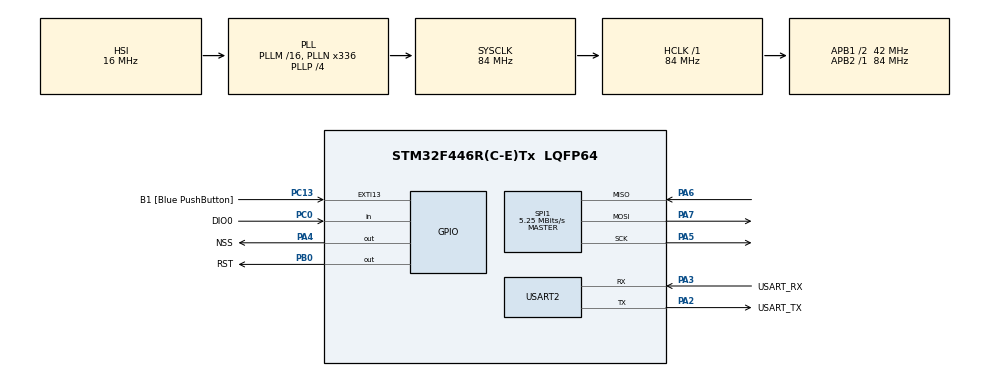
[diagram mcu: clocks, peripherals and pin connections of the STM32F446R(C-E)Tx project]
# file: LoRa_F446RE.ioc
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Mcu.Family=STM32F4
Mcu.Name=STM32F446R(C-E)Tx
Mcu.Package=LQFP64
NVIC.PriorityGroup=NVIC_PRIORITYGROUP_0
PA13.GPIO_Label=TMS
PA13.Mode=Serial_Wire
PA13.Signal=SYS_JTMS-SWDIO
PA14.GPIO_Label=TCK
PA14.Mode=Serial_Wire
PA14.Signal=SYS_JTCK-SWCLK
PA2.GPIO_Label=USART_TX
PA2.Mode=Asynchronous
PA2.Signal=USART2_TX
PA3.GPIO_Label=USART_RX
PA3.Mode=Asynchronous
PA3.Signal=USART2_RX
PA4.GPIO_Label=NSS
PA4.PinState=GPIO_PIN_SET
PA4.Signal=GPIO_Output
PA5.Mode=Full_Duplex_Master
PA5.Signal=SPI1_SCK
PA6.Mode=Full_Duplex_Master
PA6.Signal=SPI1_MISO
PA7.Mode=Full_Duplex_Master
PA7.Signal=SPI1_MOSI
PB0.GPIO_Label=RST
PB0.Signal=GPIO_Output
PB3.GPIO_Label=SWO
PB3.Signal=SYS_JTDO-SWO
PC0.GPIO_Label=DIO0
PC0.Signal=GPIO_Input
PC13.GPIO_Label=B1 [Blue PushButton]
PC13.GPIO_ModeDefaultEXTI=GPIO_MODE_IT_FALLING
PC13.Signal=GPXTI13
PC14-OSC32_IN.Mode=LSE-External-Oscillator
PC14-OSC32_IN.Signal=RCC_OSC32_IN
PC15-OSC32_OUT.Mode=LSE-External-Oscillator
PC15-OSC32_OUT.Signal=RCC_OSC32_OUT
PH0-OSC_IN.Mode=HSE-External-Oscillator
PH0-OSC_IN.Signal=RCC_OSC_IN
PH1-OSC_OUT.Mode=HSE-External-Oscillator
PH1-OSC_OUT.Signal=RCC_OSC_OUT
ProjectManager.HeapSize=0x200
ProjectManager.StackSize=0x400
ProjectManager.TargetToolchain=STM32CubeIDE
RCC.48MHZClocksFreq_Value=84000000
RCC.AHBFreq_Value=84000000
RCC.APB1CLKDivider=RCC_HCLK_DIV2
RCC.APB1Freq_Value=42000000
RCC.APB1TimFreq_Value=84000000
RCC.APB2Freq_Value=84000000
RCC.APB2TimFreq_Value=84000000
RCC.CortexFreq_Value=84000000
RCC.FLatency-AdvancedSettings=FLASH_LATENCY_2
RCC.HCLKFreq_Value=84000000
RCC.HSE_VALUE=8000000
RCC.HSI_VALUE=16000000
RCC.PLLN=336
RCC.PLLP=RCC_PLLP_DIV4
RCC.SYSCLKFreq_VALUE=84000000
RCC.SYSCLKSource=RCC_SYSCLKSOURCE_PLLCLK
RCC.USBFreq_Value=168000000
RCC.VCOOutputFreq_Value=336000000
SPI1.BaudRatePrescaler=SPI_BAUDRATEPRESCALER_16
SPI1.CalculateBaudRate=5.25 MBits/s
SPI1.Direction=SPI_DIRECTION_2LINES
SPI1.Mode=SPI_MODE_MASTER
SPI1.VirtualType=VM_MASTER
USART2.VirtualMode=VM_ASYNC
board=NUCLEO-F446RE

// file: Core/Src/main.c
/* USER CODE BEGIN Header */
/**
  ******************************************************************************
  * @file           : main.c
  * @brief          : Main program body
  ******************************************************************************
  */
/* USER CODE END Header */
#include "main.h"

/* USER CODE BEGIN Includes */
#include <stdio.h>
#include <string.h>
#include "lora.h"
/* USER CODE END Includes */

/* USER CODE BEGIN PD */
#define TX_INTERVAL_MS 5000
/* USER CODE END PD */

SPI_HandleTypeDef hspi1;
UART_HandleTypeDef huart2;

/* USER CODE BEGIN PV */
LoRa myLoRa;
uint16_t packet_seq = 0;
/* USER CODE END PV */

void SystemClock_Config(void);
static void MX_GPIO_Init(void);
static void MX_SPI1_Init(void);
static void MX_USART2_UART_Init(void);

/* USER CODE BEGIN PFP */
static uint16_t Calculate_CRC16(uint8_t *data, uint16_t len);
static void Generate_Test_Frame(StructEyeFrame *frame, uint8_t scenario_idx);

typedef struct {
    int16_t ax, ay, az;
    int16_t gx, gy, gz;
    uint8_t node_status;
    const char *label;
} TestScenario;

static const TestScenario test_cases[4] = {
    {   100,  -50, 14000,    10,   -5,    3, 0x00, "OK"                 },
    {  8000, 5000, 12000,  6000, 4000, 2000, 0x01, "OK but variation"   },
    { 16000, 1000, 14000,   200,  100,   50, 0x02, "NOT OK"             },
    { 25000, 18000, 20000, 15000, 12000, 11000, 0x03, "DANGER"          }
};
/* USER CODE END PFP */

/* USER CODE BEGIN 0 */

/* Retarget printf to UART2 */
#ifdef __GNUC__
#define PUTCHAR_PROTOTYPE int __io_putchar(int ch)
#else
#define PUTCHAR_PROTOTYPE int fputc(int ch, FILE *f)
#endif

PUTCHAR_PROTOTYPE
{
  HAL_UART_Transmit(&huart2, (uint8_t *)&ch, 1, HAL_MAX_DELAY);
  return ch;
}

static uint16_t Calculate_CRC16(uint8_t *data, uint16_t len) {
    uint16_t crc = 0xFFFF;
    for (uint16_t i = 0; i < len; i++) {
        crc ^= (uint16_t)data[i] << 8;
        for (uint8_t j = 0; j < 8; j++) {
            if (crc & 0x8000) {
                crc = (crc << 1) ^ 0x1021;
            } else {
                crc = crc << 1;
            }
        }
    }
    return crc;
}

static void Generate_Test_Frame(StructEyeFrame *frame, uint8_t scenario_idx) {
    memset(frame, 0, sizeof(StructEyeFrame));

    // Ensure index bounds
    scenario_idx = scenario_idx % 4;
    const TestScenario *s = &test_cases[scenario_idx];

    frame->preamble = 0xAA;
    frame->master_id = 0x00;
    frame->device_id = 0x01; // Node 1
    frame->seq_num = __builtin_bswap16(packet_seq++);
    frame->msg_type = 0x02;
    frame->payload_len = 0x0C; // 12 bytes

    // Assign specific Dummy Data for this scenario
    frame->accel_x = s->ax;
    frame->accel_y = s->ay;
    frame->accel_z = s->az;
    frame->gyro_x  = s->gx;
    frame->gyro_y  = s->gy;
    frame->gyro_z  = s->gz;

    // Node Status explicitly set to 0=OK, 1=Variation, 2=NOT OK, 3=DANGER
    frame->alert_flags = (s->node_status > 0) ? 0x01 : 0x00; // Set alert flag if not OK
    frame->node_status = s->node_status;

    // Calculate CRC over frame except CRC bytes
    uint16_t crc = Calculate_CRC16((uint8_t *)frame, sizeof(StructEyeFrame) - 2);
    frame->crc16 = __builtin_bswap16(crc);
}

void Error_Handler(void) {
  __disable_irq();
  while (1) {}
}
/* USER CODE END 0 */

int main(void)
{
  /* MCU Configuration--------------------------------------------------------*/
  /* Reset of all peripherals, Initializes the Flash interface and the Systick. */
  HAL_Init();

  /* Configure the system clock */
  SystemClock_Config();

  /* Initialize all configured peripherals */
  MX_GPIO_Init();
  MX_SPI1_Init();
  MX_USART2_UART_Init();

  /* USER CODE BEGIN 2 */
  printf("\r\n--- StructEye Sensor Node --- \r\n");

  myLoRa.hspi = &hspi1;
  myLoRa.NSS_port = NSS_GPIO_Port;
  myLoRa.NSS_pin = NSS_Pin;
  myLoRa.RST_port = RST_GPIO_Port;
  myLoRa.RST_pin = RST_Pin;
  myLoRa.DIO0_port = DIO0_GPIO_Port;
  myLoRa.DIO0_pin = DIO0_Pin;

  if (LoRa_Init(&myLoRa)) {
      printf("LoRa initialized successfully.\r\n");
  } else {
      printf("LoRa initialization failed.\r\n");
      while (1) {
          HAL_Delay(100);
      }
  }
  /* USER CODE END 2 */

  /* Infinite loop */
  /* USER CODE BEGIN WHILE */
  StructEyeFrame txFrame;
  uint8_t current_scenario = 0;

  while (1)
  {
      Generate_Test_Frame(&txFrame, current_scenario);

      printf("Transmitting packet %d: [STATUS: %s]\r\n", packet_seq - 1, test_cases[current_scenario].label);
      LoRa_Transmit(&myLoRa, (uint8_t *)&txFrame, sizeof(StructEyeFrame));

      current_scenario = (current_scenario + 1) % 4; // Cycle 0 -> 1 -> 2 -> 3

      HAL_Delay(TX_INTERVAL_MS);
    /* USER CODE END WHILE */

  }
}

void SystemClock_Config(void)
{
  RCC_OscInitTypeDef RCC_OscInitStruct = {0};
  RCC_ClkInitTypeDef RCC_ClkInitStruct = {0};

  __HAL_RCC_PWR_CLK_ENABLE();
  __HAL_PWR_VOLTAGESCALING_CONFIG(PWR_REGULATOR_VOLTAGE_SCALE3);

  RCC_OscInitStruct.OscillatorType = RCC_OSCILLATORTYPE_HSI;
  RCC_OscInitStruct.HSIState = RCC_HSI_ON;
  RCC_OscInitStruct.HSICalibrationValue = RCC_HSICALIBRATION_DEFAULT;
  RCC_OscInitStruct.PLL.PLLState = RCC_PLL_ON;
  RCC_OscInitStruct.PLL.PLLSource = RCC_PLLSOURCE_HSI;
  RCC_OscInitStruct.PLL.PLLM = 16;
  RCC_OscInitStruct.PLL.PLLN = 336;
  RCC_OscInitStruct.PLL.PLLP = RCC_PLLP_DIV4;
  RCC_OscInitStruct.PLL.PLLQ = 2;
  RCC_OscInitStruct.PLL.PLLR = 2;
  if (HAL_RCC_OscConfig(&RCC_OscInitStruct) != HAL_OK)
  {
    Error_Handler();
  }

  RCC_ClkInitStruct.ClockType = RCC_CLOCKTYPE_HCLK|RCC_CLOCKTYPE_SYSCLK
                              |RCC_CLOCKTYPE_PCLK1|RCC_CLOCKTYPE_PCLK2;
  RCC_ClkInitStruct.SYSCLKSource = RCC_SYSCLKSOURCE_PLLCLK;
  RCC_ClkInitStruct.AHBCLKDivider = RCC_SYSCLK_DIV1;
  RCC_ClkInitStruct.APB1CLKDivider = RCC_HCLK_DIV2;
  RCC_ClkInitStruct.APB2CLKDivider = RCC_HCLK_DIV1;

  if (HAL_RCC_ClockConfig(&RCC_ClkInitStruct, FLASH_LATENCY_2) != HAL_OK)
  {
    Error_Handler();
  }
}

static void MX_SPI1_Init(void)
{
  hspi1.Instance = SPI1;
  hspi1.Init.Mode = SPI_MODE_MASTER;
  hspi1.Init.Direction = SPI_DIRECTION_2LINES;
  hspi1.Init.DataSize = SPI_DATASIZE_8BIT;
  hspi1.Init.CLKPolarity = SPI_POLARITY_LOW;
  hspi1.Init.CLKPhase = SPI_PHASE_1EDGE;
  hspi1.Init.NSS = SPI_NSS_SOFT;
  hspi1.Init.BaudRatePrescaler = SPI_BAUDRATEPRESCALER_16;
  hspi1.Init.FirstBit = SPI_FIRSTBIT_MSB;
  hspi1.Init.TIMode = SPI_TIMODE_DISABLE;
  hspi1.Init.CRCCalculation = SPI_CRCCALCULATION_DISABLE;
  hspi1.Init.CRCPolynomial = 10;
  if (HAL_SPI_Init(&hspi1) != HAL_OK)
  {
    Error_Handler();
  }
}

static void MX_USART2_UART_Init(void)
{
  huart2.Instance = USART2;
  huart2.Init.BaudRate = 115200;
  huart2.Init.WordLength = UART_WORDLENGTH_8B;
  huart2.Init.StopBits = UART_STOPBITS_1;
  huart2.Init.Parity = UART_PARITY_NONE;
  huart2.Init.Mode = UART_MODE_TX_RX;
  huart2.Init.HwFlowCtl = UART_HWCONTROL_NONE;
  huart2.Init.OverSampling = UART_OVERSAMPLING_16;
  if (HAL_UART_Init(&huart2) != HAL_OK)
  {
    Error_Handler();
  }
}

static void MX_GPIO_Init(void)
{
  GPIO_InitTypeDef GPIO_InitStruct = {0};

  __HAL_RCC_GPIOC_CLK_ENABLE();
  __HAL_RCC_GPIOH_CLK_ENABLE();
  __HAL_RCC_GPIOA_CLK_ENABLE();
  __HAL_RCC_GPIOB_CLK_ENABLE();

  HAL_GPIO_WritePin(NSS_GPIO_Port, NSS_Pin, GPIO_PIN_SET); // NSS high
  HAL_GPIO_WritePin(RST_GPIO_Port, RST_Pin, GPIO_PIN_SET); // RST high

  GPIO_InitStruct.Pin = B1_Pin;
  GPIO_InitStruct.Mode = GPIO_MODE_IT_FALLING;
  GPIO_InitStruct.Pull = GPIO_NOPULL;
  HAL_GPIO_Init(B1_GPIO_Port, &GPIO_InitStruct);

  GPIO_InitStruct.Pin = DIO0_Pin;
  GPIO_InitStruct.Mode = GPIO_MODE_INPUT;
  GPIO_InitStruct.Pull = GPIO_NOPULL;
  HAL_GPIO_Init(DIO0_GPIO_Port, &GPIO_InitStruct);

  GPIO_InitStruct.Pin = NSS_Pin;
  GPIO_InitStruct.Mode = GPIO_MODE_OUTPUT_PP;
  GPIO_InitStruct.Pull = GPIO_NOPULL;
  GPIO_InitStruct.Speed = GPIO_SPEED_FREQ_LOW;
  HAL_GPIO_Init(NSS_GPIO_Port, &GPIO_InitStruct);

  GPIO_InitStruct.Pin = RST_Pin;
  GPIO_InitStruct.Mode = GPIO_MODE_OUTPUT_PP;
  GPIO_InitStruct.Pull = GPIO_NOPULL;
  GPIO_InitStruct.Speed = GPIO_SPEED_FREQ_LOW;
  HAL_GPIO_Init(RST_GPIO_Port, &GPIO_InitStruct);
}
